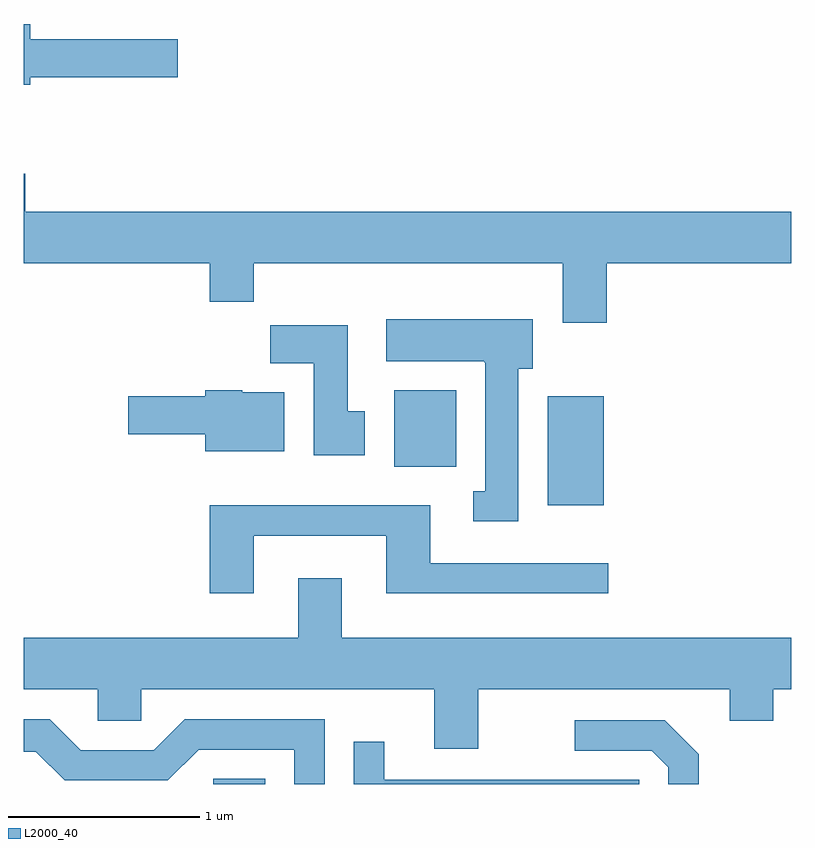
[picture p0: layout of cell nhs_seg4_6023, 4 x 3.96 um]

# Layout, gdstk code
import gdstk
lib = gdstk.Library(unit=1e-6, precision=1e-09)
def R(c, l, rs):  # rectangles x0, y0, x1, y1
    for r in rs: c.add(gdstk.rectangle(r[:2], r[2:], *l))
def P(c, l, *ps):  # polygons
    for p in ps: c.add(gdstk.Polygon(p, *l))
L2000_40 = (2000, 40)

nhs_seg4_6023 = lib.new_cell('nhs_seg4_6023')
R(nhs_seg4_6023, L2000_40, [(362.598,1331.982,362.869,1332.009), (364.341,1333.436,364.634,1334.004), (363.541,1333.636,363.864,1334.034)])
P(nhs_seg4_6023, L2000_40, [(361.644,1335.666),(362.414,1335.666),(362.414,1335.864),(361.644,1335.864),(361.644,1335.944),(361.611,1335.944),(361.611,1335.626),(361.644,1335.626)],
  [(364.649,1334.696),(365.611,1334.696),(365.611,1334.964),(361.619,1334.964),(361.619,1335.164),(361.611,1335.164),(361.611,1334.696),(362.581,1334.696),(362.581,1334.496),(362.809,1334.496),(362.809,1334.696),(364.421,1334.696),(364.421,1334.386),(364.649,1334.386)],
  [(364.189,1334.146),(364.264,1334.146),(364.264,1334.404),(363.501,1334.404),(363.501,1334.186),(364.01,1334.186),(364.01,1334.18),(364.016,1334.18),(364.016,1333.509),(363.953,1333.509),(363.953,1333.351),(364.189,1333.351)],
  [(363.389,1333.924),(363.299,1333.924),(363.299,1334.374),(362.896,1334.374),(362.896,1334.176),(363.121,1334.176),(363.121,1333.696),(363.389,1333.696)],
  [(362.969,1334.024),(362.75,1334.024),(362.75,1334.034),(362.556,1334.034),(362.556,1334.004),(362.156,1334.004),(362.156,1333.806),(362.556,1333.806),(362.556,1333.716),(362.969,1333.716)],
  [(362.809,1333.276),(363.501,1333.276),(363.501,1332.976),(364.658,1332.976),(364.658,1333.134),(363.729,1333.134),(363.729,1333.434),(362.581,1333.434),(362.581,1332.976),(362.809,1332.976)],
  [(363.979,1332.476),(365.291,1332.476),(365.291,1332.311),(365.519,1332.311),(365.519,1332.476),(365.611,1332.476),(365.611,1332.744),(363.269,1332.744),(363.269,1333.054),(363.041,1333.054),(363.041,1332.744),(361.611,1332.744),(361.611,1332.476),(361.996,1332.476),(361.996,1332.311),(362.224,1332.311),(362.224,1332.476),(363.751,1332.476),(363.751,1332.166),(363.979,1332.166)],
  [(363.179,1332.319),(362.449,1332.319),(362.289,1332.159),(361.907,1332.159),(361.747,1332.319),(361.611,1332.319),(361.611,1332.151),(361.674,1332.151),(361.824,1332.001),(362.362,1332.001),(362.522,1332.161),(363.021,1332.161),(363.021,1331.982),(363.179,1331.982)],
  [(365.129,1332.137),(364.952,1332.314),(364.483,1332.314),(364.483,1332.156),(364.884,1332.156),(364.971,1332.069),(364.971,1331.982),(365.129,1331.982)],
  [(364.819,1332.004),(363.489,1332.004),(363.489,1332.203),(363.331,1332.203),(363.331,1331.982),(364.819,1331.982)])

lib.write_gds('nhs_seg4_6023.gds')
